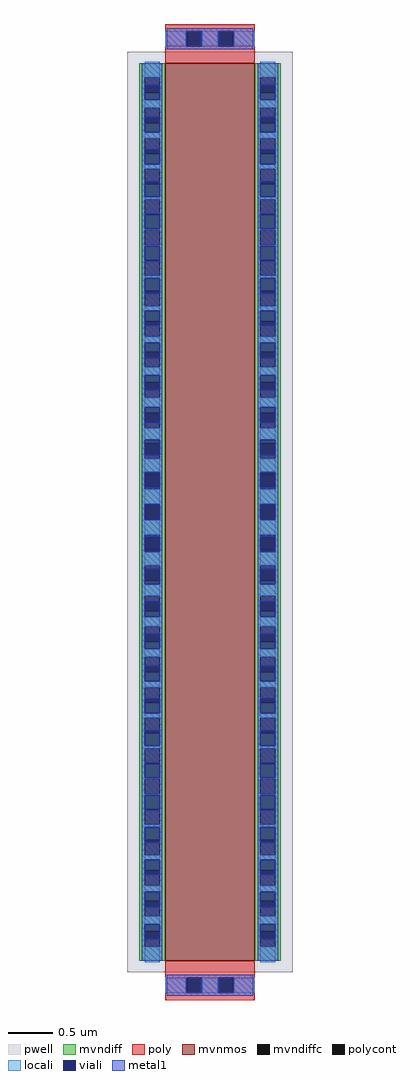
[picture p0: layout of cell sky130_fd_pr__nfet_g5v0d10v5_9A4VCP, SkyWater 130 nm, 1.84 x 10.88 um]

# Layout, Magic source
magic
tech sky130A
magscale 1 2
<< pwell >>
rect -184 -1026 184 1026
<< mvnmos >>
rect -100 -1000 100 1000
<< mvndiff >>
rect -158 969 -100 1000
rect -158 935 -146 969
rect -112 935 -100 969
rect -158 901 -100 935
rect -158 867 -146 901
rect -112 867 -100 901
rect -158 833 -100 867
rect -158 799 -146 833
rect -112 799 -100 833
rect -158 765 -100 799
rect -158 731 -146 765
rect -112 731 -100 765
rect -158 697 -100 731
rect -158 663 -146 697
rect -112 663 -100 697
rect -158 629 -100 663
rect -158 595 -146 629
rect -112 595 -100 629
rect -158 561 -100 595
rect -158 527 -146 561
rect -112 527 -100 561
rect -158 493 -100 527
rect -158 459 -146 493
rect -112 459 -100 493
rect -158 425 -100 459
rect -158 391 -146 425
rect -112 391 -100 425
rect -158 357 -100 391
rect -158 323 -146 357
rect -112 323 -100 357
rect -158 289 -100 323
rect -158 255 -146 289
rect -112 255 -100 289
rect -158 221 -100 255
rect -158 187 -146 221
rect -112 187 -100 221
rect -158 153 -100 187
rect -158 119 -146 153
rect -112 119 -100 153
rect -158 85 -100 119
rect -158 51 -146 85
rect -112 51 -100 85
rect -158 17 -100 51
rect -158 -17 -146 17
rect -112 -17 -100 17
rect -158 -51 -100 -17
rect -158 -85 -146 -51
rect -112 -85 -100 -51
rect -158 -119 -100 -85
rect -158 -153 -146 -119
rect -112 -153 -100 -119
rect -158 -187 -100 -153
rect -158 -221 -146 -187
rect -112 -221 -100 -187
rect -158 -255 -100 -221
rect -158 -289 -146 -255
rect -112 -289 -100 -255
rect -158 -323 -100 -289
rect -158 -357 -146 -323
rect -112 -357 -100 -323
rect -158 -391 -100 -357
rect -158 -425 -146 -391
rect -112 -425 -100 -391
rect -158 -459 -100 -425
rect -158 -493 -146 -459
rect -112 -493 -100 -459
rect -158 -527 -100 -493
rect -158 -561 -146 -527
rect -112 -561 -100 -527
rect -158 -595 -100 -561
rect -158 -629 -146 -595
rect -112 -629 -100 -595
rect -158 -663 -100 -629
rect -158 -697 -146 -663
rect -112 -697 -100 -663
rect -158 -731 -100 -697
rect -158 -765 -146 -731
rect -112 -765 -100 -731
rect -158 -799 -100 -765
rect -158 -833 -146 -799
rect -112 -833 -100 -799
rect -158 -867 -100 -833
rect -158 -901 -146 -867
rect -112 -901 -100 -867
rect -158 -935 -100 -901
rect -158 -969 -146 -935
rect -112 -969 -100 -935
rect -158 -1000 -100 -969
rect 100 969 158 1000
rect 100 935 112 969
rect 146 935 158 969
rect 100 901 158 935
rect 100 867 112 901
rect 146 867 158 901
rect 100 833 158 867
rect 100 799 112 833
rect 146 799 158 833
rect 100 765 158 799
rect 100 731 112 765
rect 146 731 158 765
rect 100 697 158 731
rect 100 663 112 697
rect 146 663 158 697
rect 100 629 158 663
rect 100 595 112 629
rect 146 595 158 629
rect 100 561 158 595
rect 100 527 112 561
rect 146 527 158 561
rect 100 493 158 527
rect 100 459 112 493
rect 146 459 158 493
rect 100 425 158 459
rect 100 391 112 425
rect 146 391 158 425
rect 100 357 158 391
rect 100 323 112 357
rect 146 323 158 357
rect 100 289 158 323
rect 100 255 112 289
rect 146 255 158 289
rect 100 221 158 255
rect 100 187 112 221
rect 146 187 158 221
rect 100 153 158 187
rect 100 119 112 153
rect 146 119 158 153
rect 100 85 158 119
rect 100 51 112 85
rect 146 51 158 85
rect 100 17 158 51
rect 100 -17 112 17
rect 146 -17 158 17
rect 100 -51 158 -17
rect 100 -85 112 -51
rect 146 -85 158 -51
rect 100 -119 158 -85
rect 100 -153 112 -119
rect 146 -153 158 -119
rect 100 -187 158 -153
rect 100 -221 112 -187
rect 146 -221 158 -187
rect 100 -255 158 -221
rect 100 -289 112 -255
rect 146 -289 158 -255
rect 100 -323 158 -289
rect 100 -357 112 -323
rect 146 -357 158 -323
rect 100 -391 158 -357
rect 100 -425 112 -391
rect 146 -425 158 -391
rect 100 -459 158 -425
rect 100 -493 112 -459
rect 146 -493 158 -459
rect 100 -527 158 -493
rect 100 -561 112 -527
rect 146 -561 158 -527
rect 100 -595 158 -561
rect 100 -629 112 -595
rect 146 -629 158 -595
rect 100 -663 158 -629
rect 100 -697 112 -663
rect 146 -697 158 -663
rect 100 -731 158 -697
rect 100 -765 112 -731
rect 146 -765 158 -731
rect 100 -799 158 -765
rect 100 -833 112 -799
rect 146 -833 158 -799
rect 100 -867 158 -833
rect 100 -901 112 -867
rect 146 -901 158 -867
rect 100 -935 158 -901
rect 100 -969 112 -935
rect 146 -969 158 -935
rect 100 -1000 158 -969
<< mvndiffc >>
rect -146 935 -112 969
rect -146 867 -112 901
rect -146 799 -112 833
rect -146 731 -112 765
rect -146 663 -112 697
rect -146 595 -112 629
rect -146 527 -112 561
rect -146 459 -112 493
rect -146 391 -112 425
rect -146 323 -112 357
rect -146 255 -112 289
rect -146 187 -112 221
rect -146 119 -112 153
rect -146 51 -112 85
rect -146 -17 -112 17
rect -146 -85 -112 -51
rect -146 -153 -112 -119
rect -146 -221 -112 -187
rect -146 -289 -112 -255
rect -146 -357 -112 -323
rect -146 -425 -112 -391
rect -146 -493 -112 -459
rect -146 -561 -112 -527
rect -146 -629 -112 -595
rect -146 -697 -112 -663
rect -146 -765 -112 -731
rect -146 -833 -112 -799
rect -146 -901 -112 -867
rect -146 -969 -112 -935
rect 112 935 146 969
rect 112 867 146 901
rect 112 799 146 833
rect 112 731 146 765
rect 112 663 146 697
rect 112 595 146 629
rect 112 527 146 561
rect 112 459 146 493
rect 112 391 146 425
rect 112 323 146 357
rect 112 255 146 289
rect 112 187 146 221
rect 112 119 146 153
rect 112 51 146 85
rect 112 -17 146 17
rect 112 -85 146 -51
rect 112 -153 146 -119
rect 112 -221 146 -187
rect 112 -289 146 -255
rect 112 -357 146 -323
rect 112 -425 146 -391
rect 112 -493 146 -459
rect 112 -561 146 -527
rect 112 -629 146 -595
rect 112 -697 146 -663
rect 112 -765 146 -731
rect 112 -833 146 -799
rect 112 -901 146 -867
rect 112 -969 146 -935
<< poly >>
rect -100 1072 100 1088
rect -100 1038 -51 1072
rect -17 1038 17 1072
rect 51 1038 100 1072
rect -100 1000 100 1038
rect -100 -1038 100 -1000
rect -100 -1072 -51 -1038
rect -17 -1072 17 -1038
rect 51 -1072 100 -1038
rect -100 -1088 100 -1072
<< polycont >>
rect -51 1038 -17 1072
rect 17 1038 51 1072
rect -51 -1072 -17 -1038
rect 17 -1072 51 -1038
<< locali >>
rect -100 1038 -53 1072
rect -17 1038 17 1072
rect 53 1038 100 1072
rect -146 969 -112 1004
rect -146 901 -112 919
rect -146 833 -112 847
rect -146 765 -112 775
rect -146 697 -112 703
rect -146 629 -112 631
rect -146 593 -112 595
rect -146 521 -112 527
rect -146 449 -112 459
rect -146 377 -112 391
rect -146 305 -112 323
rect -146 233 -112 255
rect -146 161 -112 187
rect -146 89 -112 119
rect -146 17 -112 51
rect -146 -51 -112 -17
rect -146 -119 -112 -89
rect -146 -187 -112 -161
rect -146 -255 -112 -233
rect -146 -323 -112 -305
rect -146 -391 -112 -377
rect -146 -459 -112 -449
rect -146 -527 -112 -521
rect -146 -595 -112 -593
rect -146 -631 -112 -629
rect -146 -703 -112 -697
rect -146 -775 -112 -765
rect -146 -847 -112 -833
rect -146 -919 -112 -901
rect -146 -1004 -112 -969
rect 112 969 146 1004
rect 112 901 146 919
rect 112 833 146 847
rect 112 765 146 775
rect 112 697 146 703
rect 112 629 146 631
rect 112 593 146 595
rect 112 521 146 527
rect 112 449 146 459
rect 112 377 146 391
rect 112 305 146 323
rect 112 233 146 255
rect 112 161 146 187
rect 112 89 146 119
rect 112 17 146 51
rect 112 -51 146 -17
rect 112 -119 146 -89
rect 112 -187 146 -161
rect 112 -255 146 -233
rect 112 -323 146 -305
rect 112 -391 146 -377
rect 112 -459 146 -449
rect 112 -527 146 -521
rect 112 -595 146 -593
rect 112 -631 146 -629
rect 112 -703 146 -697
rect 112 -775 146 -765
rect 112 -847 146 -833
rect 112 -919 146 -901
rect 112 -1004 146 -969
rect -100 -1072 -53 -1038
rect -17 -1072 17 -1038
rect 53 -1072 100 -1038
<< viali >>
rect -53 1038 -51 1072
rect -51 1038 -19 1072
rect 19 1038 51 1072
rect 51 1038 53 1072
rect -146 935 -112 953
rect -146 919 -112 935
rect -146 867 -112 881
rect -146 847 -112 867
rect -146 799 -112 809
rect -146 775 -112 799
rect -146 731 -112 737
rect -146 703 -112 731
rect -146 663 -112 665
rect -146 631 -112 663
rect -146 561 -112 593
rect -146 559 -112 561
rect -146 493 -112 521
rect -146 487 -112 493
rect -146 425 -112 449
rect -146 415 -112 425
rect -146 357 -112 377
rect -146 343 -112 357
rect -146 289 -112 305
rect -146 271 -112 289
rect -146 221 -112 233
rect -146 199 -112 221
rect -146 153 -112 161
rect -146 127 -112 153
rect -146 85 -112 89
rect -146 55 -112 85
rect -146 -17 -112 17
rect -146 -85 -112 -55
rect -146 -89 -112 -85
rect -146 -153 -112 -127
rect -146 -161 -112 -153
rect -146 -221 -112 -199
rect -146 -233 -112 -221
rect -146 -289 -112 -271
rect -146 -305 -112 -289
rect -146 -357 -112 -343
rect -146 -377 -112 -357
rect -146 -425 -112 -415
rect -146 -449 -112 -425
rect -146 -493 -112 -487
rect -146 -521 -112 -493
rect -146 -561 -112 -559
rect -146 -593 -112 -561
rect -146 -663 -112 -631
rect -146 -665 -112 -663
rect -146 -731 -112 -703
rect -146 -737 -112 -731
rect -146 -799 -112 -775
rect -146 -809 -112 -799
rect -146 -867 -112 -847
rect -146 -881 -112 -867
rect -146 -935 -112 -919
rect -146 -953 -112 -935
rect 112 935 146 953
rect 112 919 146 935
rect 112 867 146 881
rect 112 847 146 867
rect 112 799 146 809
rect 112 775 146 799
rect 112 731 146 737
rect 112 703 146 731
rect 112 663 146 665
rect 112 631 146 663
rect 112 561 146 593
rect 112 559 146 561
rect 112 493 146 521
rect 112 487 146 493
rect 112 425 146 449
rect 112 415 146 425
rect 112 357 146 377
rect 112 343 146 357
rect 112 289 146 305
rect 112 271 146 289
rect 112 221 146 233
rect 112 199 146 221
rect 112 153 146 161
rect 112 127 146 153
rect 112 85 146 89
rect 112 55 146 85
rect 112 -17 146 17
rect 112 -85 146 -55
rect 112 -89 146 -85
rect 112 -153 146 -127
rect 112 -161 146 -153
rect 112 -221 146 -199
rect 112 -233 146 -221
rect 112 -289 146 -271
rect 112 -305 146 -289
rect 112 -357 146 -343
rect 112 -377 146 -357
rect 112 -425 146 -415
rect 112 -449 146 -425
rect 112 -493 146 -487
rect 112 -521 146 -493
rect 112 -561 146 -559
rect 112 -593 146 -561
rect 112 -663 146 -631
rect 112 -665 146 -663
rect 112 -731 146 -703
rect 112 -737 146 -731
rect 112 -799 146 -775
rect 112 -809 146 -799
rect 112 -867 146 -847
rect 112 -881 146 -867
rect 112 -935 146 -919
rect 112 -953 146 -935
rect -53 -1072 -51 -1038
rect -51 -1072 -19 -1038
rect 19 -1072 51 -1038
rect 51 -1072 53 -1038
<< metal1 >>
rect -96 1072 96 1078
rect -96 1038 -53 1072
rect -19 1038 19 1072
rect 53 1038 96 1072
rect -96 1032 96 1038
rect -152 953 -106 1000
rect -152 919 -146 953
rect -112 919 -106 953
rect -152 881 -106 919
rect -152 847 -146 881
rect -112 847 -106 881
rect -152 809 -106 847
rect -152 775 -146 809
rect -112 775 -106 809
rect -152 737 -106 775
rect -152 703 -146 737
rect -112 703 -106 737
rect -152 665 -106 703
rect -152 631 -146 665
rect -112 631 -106 665
rect -152 593 -106 631
rect -152 559 -146 593
rect -112 559 -106 593
rect -152 521 -106 559
rect -152 487 -146 521
rect -112 487 -106 521
rect -152 449 -106 487
rect -152 415 -146 449
rect -112 415 -106 449
rect -152 377 -106 415
rect -152 343 -146 377
rect -112 343 -106 377
rect -152 305 -106 343
rect -152 271 -146 305
rect -112 271 -106 305
rect -152 233 -106 271
rect -152 199 -146 233
rect -112 199 -106 233
rect -152 161 -106 199
rect -152 127 -146 161
rect -112 127 -106 161
rect -152 89 -106 127
rect -152 55 -146 89
rect -112 55 -106 89
rect -152 17 -106 55
rect -152 -17 -146 17
rect -112 -17 -106 17
rect -152 -55 -106 -17
rect -152 -89 -146 -55
rect -112 -89 -106 -55
rect -152 -127 -106 -89
rect -152 -161 -146 -127
rect -112 -161 -106 -127
rect -152 -199 -106 -161
rect -152 -233 -146 -199
rect -112 -233 -106 -199
rect -152 -271 -106 -233
rect -152 -305 -146 -271
rect -112 -305 -106 -271
rect -152 -343 -106 -305
rect -152 -377 -146 -343
rect -112 -377 -106 -343
rect -152 -415 -106 -377
rect -152 -449 -146 -415
rect -112 -449 -106 -415
rect -152 -487 -106 -449
rect -152 -521 -146 -487
rect -112 -521 -106 -487
rect -152 -559 -106 -521
rect -152 -593 -146 -559
rect -112 -593 -106 -559
rect -152 -631 -106 -593
rect -152 -665 -146 -631
rect -112 -665 -106 -631
rect -152 -703 -106 -665
rect -152 -737 -146 -703
rect -112 -737 -106 -703
rect -152 -775 -106 -737
rect -152 -809 -146 -775
rect -112 -809 -106 -775
rect -152 -847 -106 -809
rect -152 -881 -146 -847
rect -112 -881 -106 -847
rect -152 -919 -106 -881
rect -152 -953 -146 -919
rect -112 -953 -106 -919
rect -152 -1000 -106 -953
rect 106 953 152 1000
rect 106 919 112 953
rect 146 919 152 953
rect 106 881 152 919
rect 106 847 112 881
rect 146 847 152 881
rect 106 809 152 847
rect 106 775 112 809
rect 146 775 152 809
rect 106 737 152 775
rect 106 703 112 737
rect 146 703 152 737
rect 106 665 152 703
rect 106 631 112 665
rect 146 631 152 665
rect 106 593 152 631
rect 106 559 112 593
rect 146 559 152 593
rect 106 521 152 559
rect 106 487 112 521
rect 146 487 152 521
rect 106 449 152 487
rect 106 415 112 449
rect 146 415 152 449
rect 106 377 152 415
rect 106 343 112 377
rect 146 343 152 377
rect 106 305 152 343
rect 106 271 112 305
rect 146 271 152 305
rect 106 233 152 271
rect 106 199 112 233
rect 146 199 152 233
rect 106 161 152 199
rect 106 127 112 161
rect 146 127 152 161
rect 106 89 152 127
rect 106 55 112 89
rect 146 55 152 89
rect 106 17 152 55
rect 106 -17 112 17
rect 146 -17 152 17
rect 106 -55 152 -17
rect 106 -89 112 -55
rect 146 -89 152 -55
rect 106 -127 152 -89
rect 106 -161 112 -127
rect 146 -161 152 -127
rect 106 -199 152 -161
rect 106 -233 112 -199
rect 146 -233 152 -199
rect 106 -271 152 -233
rect 106 -305 112 -271
rect 146 -305 152 -271
rect 106 -343 152 -305
rect 106 -377 112 -343
rect 146 -377 152 -343
rect 106 -415 152 -377
rect 106 -449 112 -415
rect 146 -449 152 -415
rect 106 -487 152 -449
rect 106 -521 112 -487
rect 146 -521 152 -487
rect 106 -559 152 -521
rect 106 -593 112 -559
rect 146 -593 152 -559
rect 106 -631 152 -593
rect 106 -665 112 -631
rect 146 -665 152 -631
rect 106 -703 152 -665
rect 106 -737 112 -703
rect 146 -737 152 -703
rect 106 -775 152 -737
rect 106 -809 112 -775
rect 146 -809 152 -775
rect 106 -847 152 -809
rect 106 -881 112 -847
rect 146 -881 152 -847
rect 106 -919 152 -881
rect 106 -953 112 -919
rect 146 -953 152 -919
rect 106 -1000 152 -953
rect -96 -1038 96 -1032
rect -96 -1072 -53 -1038
rect -19 -1072 19 -1038
rect 53 -1072 96 -1038
rect -96 -1078 96 -1072
<< end >>
